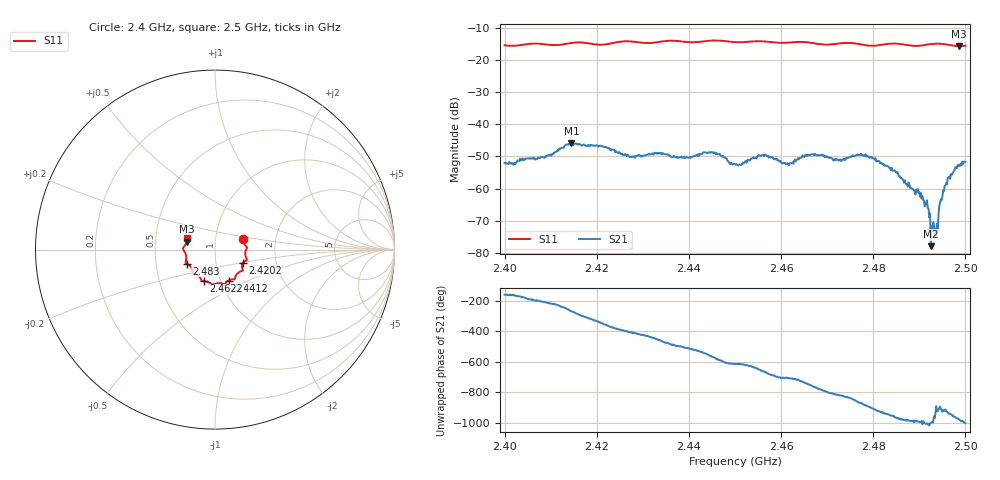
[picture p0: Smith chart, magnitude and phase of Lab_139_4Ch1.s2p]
# Hz S RI R 50
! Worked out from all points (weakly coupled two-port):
!   601 points, 2.4 GHz to 2.5 GHz, reference 50 ohm
!   highest |S21| = -45.91 dB at 2.4145 GHz (marker M1); lowest = -77.9 dB at 2.4925 GHz (marker M2)
!   lowest |S11| = -15.8 dB at 2.4987 GHz (marker M3), VSWR 1.39, Z = 36.3 + j3.3 ohm
!   |S11| at or under -10 dB: start of sweep to end of sweep
!   S12 and S22 are empty: the file has one direction only
!   S11 on the Smith chart (normalised r, x): 2.4 GHz: 1.36, +0.17; 2.4202 GHz: 1.35, -0.20; 2.4412 GHz: 1.09, -0.39; 2.4622 GHz: 0.83, -0.30; 2.483 GHz: 0.72, -0.12; 2.5 GHz: 0.73, +0.09
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2.4e9  0.1573 0.0601  -0.00238 -0.000767  0 0  0 0
2.4145e9  0.176 -0.0519  -1.43e-05 0.00506  0 0  0 0
2.416667e9  0.1771 -0.0588  0.00227 0.00405  0 0  0 0
2.420167e9  0.1568 -0.0724  0.00428 0.00183  0 0  0 0
2.4275e9  0.1536 -0.1177  0.00201 -0.00235  0 0  0 0
2.433333e9  0.1133 -0.1516  -0.000473 -0.00346  0 0  0 0
2.441167e9  0.0758 -0.1722  -0.00308 -0.000938  0 0  0 0
2.445167e9  0.0532 -0.1929  -0.00325 0.00168  0 0  0 0
2.45e9  0.0269 -0.1871  -0.000564 0.00234  0 0  0 0
2.456333e9  -0.0159 -0.193  0.00179 0.00264  0 0  0 0
2.462167e9  -0.0624 -0.1767  0.00245 0.000394  0 0  0 0
2.466667e9  -0.0775 -0.1666  0.00272 -0.00206  0 0  0 0
2.477833e9  -0.1267 -0.1152  -0.00302 -0.00115  0 0  0 0
2.483e9  -0.1586 -0.0781  -0.00166 0.00151  0 0  0 0
2.483333e9  -0.1603 -0.0771  -0.00155 0.00155  0 0  0 0
2.490167e9  -0.1649 -0.0208  7.16e-05 0.000739  0 0  0 0
2.491833e9  -0.1733 -0.00443  0.00012 0.000488  0 0  0 0
2.4925e9  -0.1762 6.67e-05  2.22e-05 0.000125  0 0  0 0
2.493667e9  -0.1791 0.00594  -0.000178 -3.06e-05  0 0  0 0
2.495667e9  -0.1742 0.0151  -0.0011 0.000248  0 0  0 0
2.498667e9  -0.1569 0.0443  -0.000403 0.00231  0 0  0 0
2.5e9  -0.1538 0.062  0.00055 0.00253  0 0  0 0
